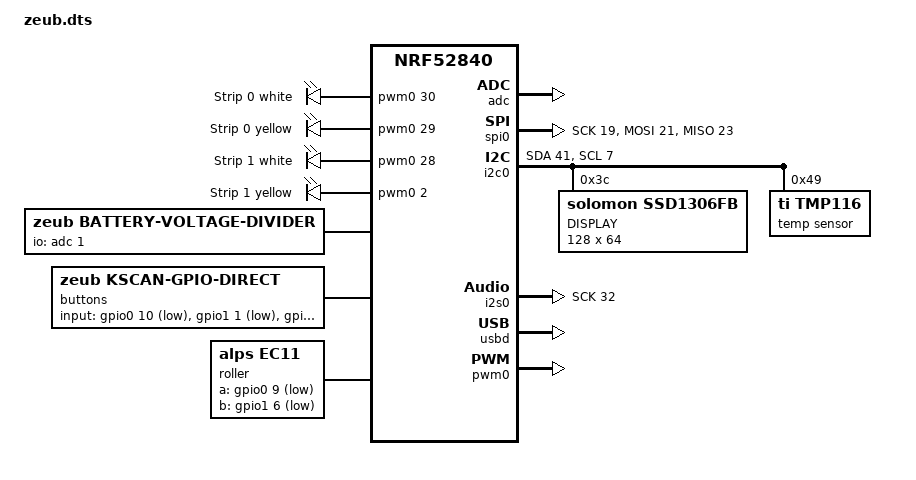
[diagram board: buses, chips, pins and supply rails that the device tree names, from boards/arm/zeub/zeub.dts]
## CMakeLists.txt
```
set(BOARD zeub)
list(APPEND BOARD_ROOT ${CMAKE_CURRENT_SOURCE_DIR})
list(APPEND DTS_ROOT ${CMAKE_SOURCE_DIR})
list(APPEND DTS_ROOT ${CMAKE_SOURCE_DIR}/drivers/zephyr)

list(APPEND ZEPHYR_EXTRA_MODULES ${CMAKE_CURRENT_SOURCE_DIR}/drivers)
cmake_minimum_required(VERSION 3.13.1)
find_package(Zephyr)
project(zeub)

# Add your source file to the "app" target. This must come after
# find_package(Zephyr) which defines the target.
target_include_directories(app PRIVATE include)
target_sources(app PRIVATE src/main.c src/disp.c)
```

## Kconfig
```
config ZEUB
    bool
    default y
    select NFCT_PINS_AS_GPIOS
    select LED
    select PWM
    select LED_PWM
    select SENSOR
    select I2C      #???
    select TMP116   #???
    select LVGL

config RTT_LOG
    bool "Enable RTT logging"
    default n
    select LOG
    select DEBUG
    select CONSOLE
    select USE_SEGGER_RTT
    select RTT_CONSOLE

config NEOPIXEL
    bool "Enable neopixel"
    default y
    select SPI
    select NRFX_SPIM0
    select LED_STRIP
    select WS2812_STRIP

config ZEUB_DISPLAY_THREAD_STACK_SIZE
    int "Stack size for UI thread/queue"
    default 2048

config ZEUB_DISPLAY_THREAD_PRIORITY
    int "Thread priority for UI thread/queue"
    default 5

config DISPLAY_INIT_PRIORITY
	int "Display/UI Init Priority"
	default 50

config TEMP_UPDATE_INTERVAL_MS
    int "Interval in ms to update temperature display"
    default 1000

config LVGL_FONT_MONTSERRAT_16
    default y

choice LVGL_THEME_DEFAULT_FONT_NORMAL
    default LVGL_THEME_DEFAULT_FONT_NORMAL_MONTSERRAT_16
endchoice

DT_OLED_PATH := $(dt_nodelabel_path,oled)

config LVGL_HOR_RES_MAX
    default 128

config LVGL_VER_RES_MAX
    default $(dt_node_int_prop_int,$(DT_OLED_PATH),height)

module = ZEUB
module-str = zeub
source "subsys/logging/Kconfig.template.log_config"

source "Kconfig.zephyr"
```

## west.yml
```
manifest:
  remotes:
    - name: zephyr
      url-base: https://github.com/zephyrproject-rtos

  projects:
    - name: zephyr
      path: zephyr
      revision: main
      remote: zephyr
      clone-depth: 1
      import:
        name-allowlist:
          - lvgl
          - hal_nordic
          - cmsis
          - segger

  self:
    path: test_manifest
```

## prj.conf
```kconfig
CONFIG_USE_DT_CODE_PARTITION=y
CONFIG_RTT_LOG=y
CONFIG_ZEUB_LOG_LEVEL_INF=y
```

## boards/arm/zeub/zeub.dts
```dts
/dts-v1/;
#include <nordic/nrf52840_qiaa.dtsi>

#include <dt-bindings/led/led.h>

 / {
	chosen {
		zephyr,bt-mon-uart = &uart0;
		zephyr,bt-c2h-uart = &uart0;
		zephyr,sram = &sram0;
		zephyr,flash = &flash0;
		zephyr,code-partition = &flash_code_raw;
        zephyr,console = &cdc_dev;
	};

    led_strip: led_strip {
        compatible = "pwm-leds";
        strip_w0 {
            pwms = <&pwm0 30>;
            label = "Strip 0 white";
        };
        strip_y0 {
            pwms = <&pwm0 29>;
            label = "Strip 0 yellow";
        };
        strip_w1 {
            pwms = <&pwm0 28>;
            label = "Strip 1 white";
        };
        strip_y1 {
            pwms = <&pwm0 2>;
            label = "Strip 1 yellow";
        };
    };

    bat {
        compatible = "zeub,battery-voltage-divider";
        label = "BATTERY";
        io-channels = <&adc 1>;
        output-ohms = <1>;
        full-ohms = <(1 + 1)>;
    };

    buttons: kscan {
        compatible = "zeub,kscan-gpio-direct";
        status = "okay";
        label = "buttons";
        input-gpios
			= <&gpio0 10 (GPIO_PULL_UP | GPIO_ACTIVE_LOW)>      // Encoder push button
			, <&gpio1  1 (GPIO_PULL_UP | GPIO_ACTIVE_LOW)>      // 5 way select up/A
			, <&gpio1 10 (GPIO_PULL_UP | GPIO_ACTIVE_LOW)>      // 5 way select down/D
			, <&gpio1  4 (GPIO_PULL_UP | GPIO_ACTIVE_LOW)>      // 5 way select left/C
			, <&gpio1 13 (GPIO_PULL_UP | GPIO_ACTIVE_LOW)>      // 5 way select right/B
			, <&gpio1  2 (GPIO_PULL_UP | GPIO_ACTIVE_LOW)>      // 5 way select center/E
            ;
    };

	roller: roller {
		compatible = "alps,ec11";
		status = "okay";
		a-gpios = <&gpio0 9 (GPIO_PULL_UP | GPIO_ACTIVE_LOW)>;
		b-gpios = <&gpio1 6 (GPIO_PULL_UP | GPIO_ACTIVE_LOW)>;
		resolution = <4>;
	};
};

&adc {
	status = "okay";
};

&gpiote {
	status = "okay";
};

&gpio0 {
	status = "okay";
};

&gpio1 {
	status = "okay";
};

&spi0 {
    compatible = "nordic,nrf-spim";
    /* status = "okay"; */
    sck-pin = <19>;
    mosi-pin = <21>;
    miso-pin = <23>;
};

&i2c0 {
    compatible = "nordic,nrf-twi";
    status = "okay";
    scl-pin = <7>;
    sda-pin = <41>;
    oled: ssd1306@3c {
        compatible = "solomon,ssd1306fb";
        status = "okay";
        reg = <0x3c>;
        label = "DISPLAY";
        width = <128>;
        height = <64>;
        segment-offset = <0>;
        page-offset = <0>;
        display-offset = <0>;
        multiplex-ratio = <63>;
        segment-remap;
        com-invdir;
        com-sequential;
        prechargep = <0x22>;
    };

    tmp117: tmp117@49 {
        compatible = "ti,tmp116";
        status = "okay";
        reg = <0x49>;
        label = "temp sensor";
    };
};

&i2s0 {
    /* status = "okay"; */
    sck-pin = <32>;
    lrck-pin = <22>;
    sdout-pin = <5>;
    sdin-pin = <4>;

    left_speaker: left_speaker {
    };
};

&spi1 {
    status = "disabled";
};

&flash0 {
	/*
	 * For more information, see:
	 * http://docs.zephyrproject.org/latest/devices/dts/flash_partitions.html
	 */
	my-partitions {
		compatible = "fixed-partitions";
		#address-cells = <1>;
		#size-cells = <1>;

		flash_sd: partition_sd@0 {
			label = "softdevice";
			reg = <0x00000000 0x00026000>;
		};
		flash_mbr: partition@0 {
			label = "mbr";
			reg = <0x00000000 0x00001000>;
		};
		flash_code_soft: partition@26000 {
			label = "code_partition_softdevice";
			reg = <0x00026000 0x000c6000>;
		};
		flash_code: partition@1000 {
			label = "code_partition";
			reg = <0x00001000 0x000eb000>;
		};
		flash_code_raw: partition_raw@0 {
			label = "raw_code_partition";
			reg = <0x00000000 0x000ec000>;
		};

		/*
		 * The flash starting at 0x000ec000 and ending at
		 * 0x000f3fff is reserved for use by the application.
		 */

		/*
		 * Storage partition will be used by FCB/LittleFS/NVS
		 * if enabled.
		 */
		flash_storage: partition@ec000 {
			label = "flash_storage";
			reg = <0x000ec000 0x00008000>;
		};

		flash_boot: partition@f4000 {
			label = "adafruit_boot";
			reg = <0x000f4000 0x0000c000>;
		};
	};
};

zephyr_udc0: &usbd {
	compatible = "nordic,nrf-usbd";
	status = "okay";

	cdc_dev: cdc_acm_uart0 {
		compatible = "zephyr,cdc-acm-uart";
		label = "CDC_ACM_0";
	};
};

&pwm0 {
    status = "okay";
    ch0-pin = <30>;
    ch1-pin = <29>;
    ch2-pin = <28>;
    ch3-pin = <2>;
};
```

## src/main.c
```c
#include <device.h>
#include <drivers/gpio.h>
#include <drivers/led.h>
#include <drivers/kscan.h>
#include <drivers/sensor.h>

#include <logging/log.h>
LOG_MODULE_REGISTER(zeub, CONFIG_ZEUB_LOG_LEVEL);

#define WHITE_BRIGHT 0
#define YELLOW_BRIGHT 20

static const struct device *led_strip = DEVICE_DT_GET(DT_NODELABEL(led_strip)),
             *buttons = DEVICE_DT_GET(DT_NODELABEL(buttons)),
             *roller = DEVICE_DT_GET(DT_NODELABEL(roller));
static uint8_t channel = 0;
static uint8_t brights[4] = {WHITE_BRIGHT, YELLOW_BRIGHT, 0, 0};

static int set_bright() {
    int ret;
    for (uint8_t i = 0; i < sizeof(brights); i ++) {
        ret = led_set_brightness(led_strip, i, brights[i]);
        if (ret < 0) {
            LOG_ERR("set strip %d: %d", i, ret);
            return ret;
        }
    }
    return 0;
}

enum button {
    ENC_PUSH = 0,
    SEL_UP,
    SEL_DOWN,
    SEL_LEFT,
    SEL_RIGHT,
    SEL_PUSH,
    ROLL_UP,
    ROLL_DOWN,
};

static void handle_button(const struct device *dev, enum button button, bool pressed) {
    int ret;
    if (pressed) {
        switch (button) {
        case SEL_PUSH:
            break;
        case ENC_PUSH:
            channel = !channel;
            break;
        case ROLL_UP:
            if (brights[channel * 2 + 1] < 100) {
                brights[channel * 2 + 1] += 5;
            }
            set_bright();
            break;
        case ROLL_DOWN:
            if (brights[channel * 2 + 1] > 0) {
                brights[channel * 2 + 1] -= 5;
            }
            set_bright();
            break;
        default:
            break;
        }
    }
}

static inline void buttons_cb(const struct device *dev, uint32_t row, uint32_t col, bool pressed) {
    LOG_DBG("buttons %u %d", col, pressed);
    handle_button(dev, col, pressed);
}

static inline void roller_cb(const struct device *dev, uint32_t row, uint32_t col, bool pressed) {
    LOG_DBG("roller %u %d", col, pressed);
    handle_button(dev, col + ROLL_UP, pressed);
}

int main() {
    int ret;
    ret = led_set_brightness(led_strip, 0, WHITE_BRIGHT);
    if (ret < 0) {
        LOG_ERR("white 0 %d", ret);
        return ret;
    }
    ret = led_set_brightness(led_strip, 1, YELLOW_BRIGHT);
    if (ret < 0) {
        LOG_ERR("yellow 0 %d", ret);
        return ret;
    }

    kscan_config(roller, roller_cb);
    kscan_enable_callback(roller);
    kscan_config(buttons, buttons_cb);
    kscan_enable_callback(buttons);

    return 0;
}
```

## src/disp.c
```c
#include <device.h>
#include <drivers/display.h>
#include <drivers/sensor.h>
#include <lvgl.h>

#include <logging/log.h>
LOG_MODULE_REGISTER(zeub_disp, CONFIG_ZEUB_LOG_LEVEL);

#define TICK_MS 10

static const struct device *oled = DEVICE_DT_GET(DT_NODELABEL(oled)),
             *temp_sensor = DEVICE_DT_GET(DT_NODELABEL(tmp117));
struct disp_screen {
    lv_obj_t *screen,
             *time, *temp;
};

static struct disp_screen screen;

static void display_tick_cb(struct k_work *work);
static void display_timer_cb();
static K_WORK_DEFINE(display_tick_work, display_tick_cb);
static K_THREAD_STACK_DEFINE(display_work_stack_area, CONFIG_ZEUB_DISPLAY_THREAD_STACK_SIZE);
static K_TIMER_DEFINE(display_timer, display_timer_cb, NULL);

static void temp_update_work_cb(struct k_work *work);
static void temp_update_timer_cb();
static K_WORK_DEFINE(temp_update_work, temp_update_work_cb);
static K_TIMER_DEFINE(temp_update_timer, temp_update_timer_cb, NULL);

static struct k_work_q display_work_q;

static void display_timer_cb() {
    lv_tick_inc(TICK_MS);
    k_work_submit_to_queue(&display_work_q, &display_tick_work);
}

static void display_tick_cb(struct k_work *work) { lv_task_handler(); }

static void temp_update_timer_cb() { k_work_submit_to_queue(&display_work_q, &temp_update_work); }

static void temp_update_work_cb(struct k_work *work) {
    int ret;
    ret = sensor_sample_fetch(temp_sensor);
    if (ret < 0) {
        LOG_ERR("temp fetch %d", ret);
        return;
    }
    struct sensor_value temp;
    ret = sensor_channel_get(temp_sensor, SENSOR_CHAN_AMBIENT_TEMP, &temp);
    if (ret < 0) {
        LOG_ERR("temp get %d", ret);
        return;
    }
    lv_label_set_text_fmt(screen.temp, "temp: %d.%d C", temp.val1, temp.val2);
    LOG_INF("temp: %d.%d C", temp.val1, temp.val2);
}

static void init_ui() {
    screen.screen = lv_obj_create(NULL, NULL);
    screen.time = lv_obj_create(screen.screen, NULL);
    screen.temp = lv_obj_create(screen.screen, NULL);
    /* lv_label_set_text(screen.temp, "------------------------------"); */
    lv_obj_align(screen.time, screen.screen, LV_ALIGN_IN_TOP_LEFT, 0, 0);
    lv_obj_set_width(screen.time, CONFIG_LVGL_HOR_RES_MAX);
    lv_obj_align(screen.temp, screen.screen, LV_ALIGN_IN_BOTTOM_LEFT, 0, 0);
    lv_obj_set_width(screen.temp, CONFIG_LVGL_HOR_RES_MAX);
}

static int disp_init(const struct device *_arg) {
    display_blanking_off(oled);

    init_ui();
    k_work_submit_to_queue(&display_work_q, &temp_update_work);
    lv_scr_load(screen.screen);

    k_timer_start(&temp_update_timer, K_MSEC(CONFIG_TEMP_UPDATE_INTERVAL_MS), K_MSEC(CONFIG_TEMP_UPDATE_INTERVAL_MS));
    k_timer_start(&display_timer, K_MSEC(TICK_MS), K_MSEC(TICK_MS));
    k_work_queue_start(&display_work_q, display_work_stack_area,
                       K_THREAD_STACK_SIZEOF(display_work_stack_area),
                       CONFIG_ZEUB_DISPLAY_THREAD_PRIORITY, NULL);
}

SYS_INIT(disp_init, APPLICATION, CONFIG_DISPLAY_INIT_PRIORITY);
```
